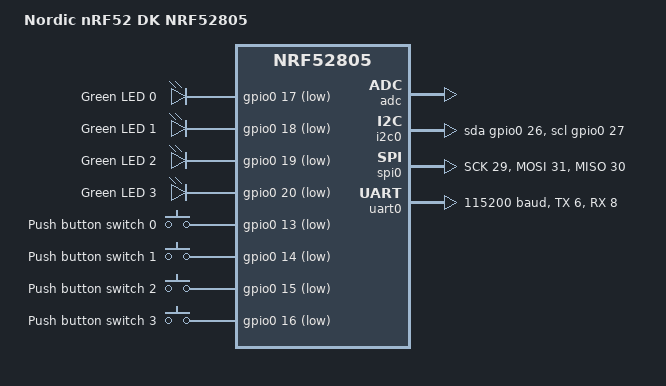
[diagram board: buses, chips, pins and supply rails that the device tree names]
/*
 * Copyright (c) 2020 Nordic Semiconductor ASA
 *
 * SPDX-License-Identifier: Apache-2.0
 */

/dts-v1/;
#include <nordic/nrf52805_caaa.dtsi>

/ {
	model = "Nordic nRF52 DK NRF52805";
	compatible = "nordic,nrf52-dk-nrf52805";

	chosen {
		zephyr,console = &uart0;
		zephyr,shell-uart = &uart0;
		zephyr,uart-mcumgr = &uart0;
		zephyr,bt-mon-uart = &uart0;
		zephyr,bt-c2h-uart = &uart0;
		zephyr,sram = &sram0;
		zephyr,flash = &flash0;
		zephyr,code-partition = &slot0_partition;
	};

	leds {
		compatible = "gpio-leds";
		led0: led_0 {
			gpios = <&gpio0 17 GPIO_ACTIVE_LOW>;
			label = "Green LED 0";
		};
		led1: led_1 {
			gpios = <&gpio0 18 GPIO_ACTIVE_LOW>;
			label = "Green LED 1";
		};
		led2: led_2 {
			gpios = <&gpio0 19 GPIO_ACTIVE_LOW>;
			label = "Green LED 2";
		};
		led3: led_3 {
			gpios = <&gpio0 20 GPIO_ACTIVE_LOW>;
			label = "Green LED 3";
		};
	};

	gpio_keys {
		compatible = "gpio-keys";
		button0: button_0 {
			label = "Push button switch 0";
			gpios = <&gpio0 13 (GPIO_PULL_UP | GPIO_ACTIVE_LOW)>;
		};
		button1: button_1 {
			label = "Push button switch 1";
			gpios = <&gpio0 14 (GPIO_PULL_UP | GPIO_ACTIVE_LOW)>;
		};
		button2: button_2 {
			label = "Push button switch 2";
			gpios = <&gpio0 15 (GPIO_PULL_UP | GPIO_ACTIVE_LOW)>;
		};
		button3: button_3 {
			label = "Push button switch 3";
			gpios = <&gpio0 16 (GPIO_PULL_UP | GPIO_ACTIVE_LOW)>;
		};
	};

	/* These aliases are provided for compatibility with samples */
	aliases {
		led0 = &led0;
		led1 = &led1;
		led2 = &led2;
		led3 = &led3;
		sw0 = &button0;
		sw1 = &button1;
		sw2 = &button2;
		sw3 = &button3;
	};
};

&adc {
	status = "okay";
};

&gpio0 {
	status = "okay";
};

&gpiote {
	status = "okay";
};

&i2c0 {
	compatible = "nordic,nrf-twi";
	status = "okay";
	sda-gpios = <&gpio0 26 0>;
	scl-gpios = <&gpio0 27 0>;
};

&spi0 {
	compatible = "nordic,nrf-spi";
	status = "okay";
	sck-pin = <29>;
	mosi-pin = <31>;
	miso-pin = <30>;
};

&uart0 {
	compatible = "nordic,nrf-uarte";
	status = "okay";
	current-speed = <115200>;
	tx-pin = <6>;
	rx-pin = <8>;
	rts-pin = <5>;
	cts-pin = <7>;
};

&flash0 {
	/*
	 * For more information, see:
	 * http://docs.zephyrproject.org/latest/guides/dts/index.html#flash-partitions
	 */
	partitions {
		compatible = "fixed-partitions";
		#address-cells = <1>;
		#size-cells = <1>;

		boot_partition: partition@0 {
			label = "mcuboot";
			reg = <0x00000000 0xc000>;
		};
		slot0_partition: partition@c000 {
			label = "image-0";
			reg = <0x0000C000 0xd000>;
		};
		slot1_partition: partition@19000 {
			label = "image-1";
			reg = <0x00019000 0xd000>;
		};
		scratch_partition: partition@26000 {
			label = "image-scratch";
			reg = <0x00026000 0x3000>;
		};
		storage_partition: partition@29000 {
			label = "storage";
			reg = <0x00029000 0x00007000>;
		};
	};
};
